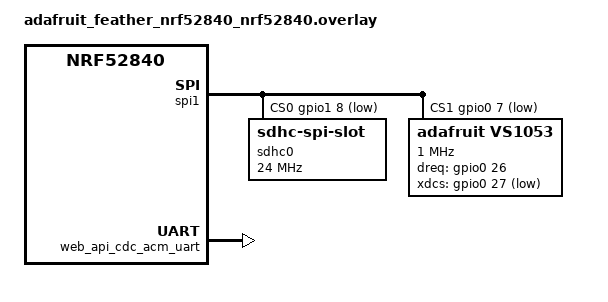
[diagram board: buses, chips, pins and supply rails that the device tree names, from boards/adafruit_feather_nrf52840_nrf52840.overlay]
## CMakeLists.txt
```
cmake_minimum_required(VERSION 3.20.0)
find_package(Zephyr REQUIRED HINTS $ENV{ZEPHYR_BASE})

project(MeshyQ)

target_sources(app PRIVATE
  src/main.c
  src/model_handler.c
  src/chat_cli.c
  src/audio_player.c
  src/vs1053.c
  src/sd_card.c
  src/usb_id.c
  src/bootloader.c
  src/web_api.c
)

target_include_directories(app PRIVATE
  include
)
```

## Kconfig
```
#
# Copyright (c) 2020 Nordic Semiconductor
#
# SPDX-License-Identifier: LicenseRef-Nordic-5-Clause
#

source "Kconfig.zephyr"

menu "MeshyQ wireless audio cue system"

config BT_MESH_CHAT_CLI_MESSAGE_LENGTH
	int "Max length of the message to be sent over mesh"
	default 160
	range 0 255
	help
	  Impacts on memory size occupied by the buffer of a message to be
	  published. This does not include null terminator. The message must also
	  fit into the application SDU. Adjust BT_MESH_TX_SEG_MAX and
	  BT_MESH_RX_SEG_MAX to be able to receive the longest messages.

	  Sized above the minimum a single filename needs so the "list" command's
	  comma-separated reply (one node's playable files) has room; a node with
	  more files than fit just reports as many as it can.

config BT_MESH_CHAT_SAMPLE_PRESENCE_CACHE_SIZE
	int "Presence cache size"
	default 16
	range 0 32767
	help
	  Presence cache stores previously received presence of chat clients.
	  Recommended to be as big as number of chat clients in the mesh network.

config WEB_API_LINE_BUF_SIZE
	int "Max line length for the structured web API protocol"
	default 512
	help
	  Must fit the largest single JSON request/response/event exchanged
	  over the web API's CDC-ACM interface, e.g. a "cue list" reply
	  enumerating every playable file.

endmenu

module = BT_MESH_CHAT_CLI
module-str = BT Mesh Chat Client model
source "$(ZEPHYR_BASE)/subsys/logging/Kconfig.template.log_config"
```

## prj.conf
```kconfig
CONFIG_NCS_SAMPLES_DEFAULTS=y

# Deferred logging helps improve LPN power consumption
# when friendship is established.
CONFIG_LOG_MODE_DEFERRED=y

# General configuration
CONFIG_NCS_APPLICATION_BOOT_BANNER_STRING="MeshyQ"
CONFIG_SYSTEM_WORKQUEUE_STACK_SIZE=2048
CONFIG_FLASH=y
CONFIG_FLASH_MAP=y
CONFIG_NVS=y
CONFIG_SETTINGS=y
CONFIG_NVS_LOOKUP_CACHE=y
CONFIG_SETTINGS_NVS_NAME_CACHE=y
CONFIG_HWINFO=y
CONFIG_GPIO=y
CONFIG_SPI=y

# The board default USB identity ("Zephyr Project" / "CDC ACM serial
# backend") is a compile-time-fixed string, so it can't include a per-chip
# hardware UID. Disable it in favor of src/usb_id.c, which builds an
# equivalent USB device but names it "MeshyQ <hex UID>" so each node in the
# fleet is distinguishable on the host.
CONFIG_CDC_ACM_SERIAL_INITIALIZE_AT_BOOT=n

# Structured JSON control protocol for the web app (src/web_api.c), on its
# own second CDC-ACM interface (web_api_cdc_acm_uart, boards/*.overlay).
CONFIG_JSON_LIBRARY=y

# SD card (Music Maker FeatherWing) storage
CONFIG_DISK_ACCESS=y
CONFIG_FILE_SYSTEM=y
CONFIG_FAT_FILESYSTEM_ELM=y

# The audio player thread reads files from the SD card while other
# threads (shell commands, mesh message handlers) can concurrently stat
# or list files on the same volume. Without this, FatFs volume access
# isn't mutex-protected across threads.
CONFIG_FS_FATFS_REENTRANT=y

# Bluetooth configuration
CONFIG_BT=y
CONFIG_BT_DEVICE_NAME="MeshyQ"
CONFIG_BT_L2CAP_TX_BUF_COUNT=16
CONFIG_BT_OBSERVER=y
CONFIG_BT_PERIPHERAL=y
CONFIG_BT_SETTINGS=y

# Disable unused Bluetooth features
CONFIG_BT_CTLR_LE_ENC=n
CONFIG_BT_PHY_UPDATE=n
CONFIG_BT_CTLR_CHAN_SEL_2=n
CONFIG_BT_CTLR_MIN_USED_CHAN=n
CONFIG_BT_CTLR_PRIVACY=n

# Bluetooth Mesh configuration
CONFIG_BT_MESH=y
# Every node relays. At the ~13-node scale of this deployment that's the
# right call, not a problem to thin out: the common advice to limit relays
# to a small percentage of nodes is aimed at large (100s of nodes) dense
# lighting-style deployments where redundant relaying causes collision
# storms. A fleet this size needs full relay coverage for connectivity.
CONFIG_BT_MESH_RELAY=y
CONFIG_BT_MESH_FRIEND=y

# Reliability tuning for a sparse-traffic, ~13-node fleet: with infrequent
# messages there's no "the next one will probably get through" luck, so
# each send needs its own redundancy.
#   - Relays forward each packet exactly once by default (retransmit count
#     0). That's the single biggest reliability gap for multi-hop delivery:
#     losing one over-the-air transmission at any hop loses the message
#     outright. Retransmitting twice per hop closes that gap.
#   - The originating node repeats its own first transmission one extra
#     time beyond the default, for the same reason on the first hop.
#   - The replay-protection list (CRPL) defaults to 10 entries, which is
#     under the node count; it should exceed the number of nodes with some
#     margin (entries are cheap, ~64 B each).
CONFIG_BT_MESH_RELAY_RETRANSMIT_COUNT=2
CONFIG_BT_MESH_NETWORK_TRANSMIT_COUNT=3
CONFIG_BT_MESH_CRPL=16

# Mesh buffer and segment configuration (fixes "Unable to allocate loopback")
CONFIG_BT_MESH_LOOPBACK_BUFS=8
CONFIG_BT_MESH_RX_SEG_MAX=16
CONFIG_BT_MESH_TX_SEG_MAX=16
CONFIG_BT_MESH_TX_SEG_MSG_COUNT=4

# The default of 1 only lets a node reassemble one incoming segmented
# message at a time. Every message this app sends is segmented (its max
# length is far above the ~11-byte unsegmented limit), and "cue list"
# makes every node in the ~13-node fleet reply with its own segmented
# message, unicast straight back to whichever node asked -- so that node
# needs to reassemble a whole fleet's worth of concurrent segmented
# replies at once, not just one. 16 matches the same fleet-size-plus-
# margin headroom already used above for RX_SEG_MAX/TX_SEG_MAX/CRPL.
# Each slot's exact RAM cost isn't a published constant; if a build ever
# reports insufficient RAM, this is the first value to turn back down.
CONFIG_BT_MESH_RX_SEG_MSG_COUNT=16

# Extra relay/advertising buffer headroom for the retransmit counts above:
# more retransmitted copies are in flight per message now, and this project
# has already hit one real "Unable to allocate" bug (see LOOPBACK_BUFS)
# from underestimating buffer needs.
CONFIG_BT_MESH_RELAY_BUF_COUNT=16
CONFIG_BT_MESH_ADV_BUF_COUNT=10

CONFIG_BT_MESH_PB_GATT=y
CONFIG_BT_MESH_GATT_PROXY=y
CONFIG_BT_MESH_CFG_CLI=y

# Enable Bluetooth Mesh models debug logs
CONFIG_BT_MESH_LOG_LEVEL_DBG=y

# Enable Shell module and use UART as a backend
CONFIG_SHELL=y
CONFIG_SHELL_BACKEND_SERIAL=y
CONFIG_FLASH_SHELL=n

# sys_reboot(), used by the "bootloader" shell command (src/bootloader.c)
CONFIG_REBOOT=y

CONFIG_LOG_BACKEND_RTT=n

# Defensive sizing learned the hard way during hardware bring-up: the
# default main stack (1024B) and heap (0B) are too small once SD/FAT and
# Bluetooth Mesh are both in play, and previously caused a hard-to-diagnose
# crash severe enough to prevent USB enumeration. Audio/SD/VS1053 bring-up
# now runs on its own thread (see audio_player.c) with its own 4096B stack,
# but this still gives bt_ready()'s own Bluetooth/mesh init path headroom.
CONFIG_MAIN_STACK_SIZE=4096
CONFIG_HEAP_MEM_POOL_SIZE=4096

# So a stack overflow shows up as a clear fault message instead of a
# silent crash/reset.
CONFIG_HW_STACK_PROTECTION=y
```

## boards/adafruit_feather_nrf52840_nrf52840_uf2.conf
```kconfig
# Without this, Zephyr ignores the board's devicetree partition layout
# (code_partition @ 0x26000, clear of the Adafruit bootloader/SoftDevice
# region at 0x0-0x26000) and links the app at address 0 instead. Flashing
# that via the UF2 bootloader overwrites the bootloader itself and bricks
# the board (rapid red LED, no USB enumeration).
CONFIG_USE_DT_CODE_PARTITION=y
```

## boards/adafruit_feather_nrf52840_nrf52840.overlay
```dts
/*
 * Adafruit Music Maker FeatherWing w/ Amp (VS1053 + microSD), stacked
 * directly on the Feather header.
 *
 * SCK/MOSI/MISO come from the board's default feather_spi (spi1) pins.
 * The two SPI devices below (VS1053 command interface and the SD
 * card) each get their own entry in spi1's cs-gpios, selected by
 * their `reg` index. VS1053 XDCS (data chip-select) and DREQ are not
 * part of the SPI framework's CS handling and are toggled/read
 * manually by the vs1053 driver. The wing ties VS1053 reset to the
 * Feather's shared reset line, so there's no separate reset GPIO.
 *
 * Pin mapping, per Adafruit's Music Maker FeatherWing wiring for
 * Feather boards (fixed by the wing's own PCB, not board-specific):
 *   SD card CS   -> D5  (P1.08)
 *   VS1053 XCS   -> D6  (P0.07)
 *   VS1053 DREQ  -> D9  (P0.26)
 *   VS1053 XDCS  -> D10 (P0.27)
 */

&spi1 {
	status = "okay";
	cs-gpios = <&gpio1 8 GPIO_ACTIVE_LOW>,
		   <&gpio0 7 GPIO_ACTIVE_LOW>;

	sdhc0: sdhc@0 {
		compatible = "zephyr,sdhc-spi-slot";
		reg = <0>;
		status = "okay";
		spi-max-frequency = <24000000>;

		mmc {
			compatible = "zephyr,sdmmc-disk";
			disk-name = "SD";
			status = "okay";
		};
	};

	vs1053: vs1053@1 {
		compatible = "adafruit,vs1053";
		reg = <1>;
		status = "okay";
		spi-max-frequency = <1000000>;
		dreq-gpios = <&gpio0 26 GPIO_ACTIVE_HIGH>;
		xdcs-gpios = <&gpio0 27 GPIO_ACTIVE_LOW>;
	};
};

/*
 * Second CDC-ACM USB interface, alongside the existing shell/console UART
 * (board_cdc_acm_uart, defined upstream in
 * zephyr/boards/common/usb/cdc_acm_serial.dtsi and wired to zephyr,console/
 * zephyr,shell-uart there). This node is not referenced by any zephyr,*
 * chosen property, so the existing shell/log console is untouched; it is
 * registered as a second USB class instance directly by src/usb_id.c and
 * carries the structured JSON protocol used by the web app (src/web_api.c).
 *
 * `label` becomes this interface's USB interface string descriptor,
 * distinguishing it from the shell interface at the USB descriptor level
 * (useful for OS-level tooling; not guaranteed to surface in a browser's
 * Web Serial port picker).
 */
&zephyr_udc0 {
	web_api_cdc_acm_uart: web_api_cdc_acm_uart {
		compatible = "zephyr,cdc-acm-uart";
		status = "okay";
		label = "MeshyQ Control";
	};
};
```

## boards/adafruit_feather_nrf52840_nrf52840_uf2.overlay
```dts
/*
 * Same wiring as the plain (SWD-flashed) target. Zephyr's app-level board
 * overlay lookup matches the exact board qualifier string only, so the
 * "/uf2" target (used with the Adafruit UF2 bootloader) needs its own
 * file rather than falling back to adafruit_feather_nrf52840_nrf52840.overlay.
 */
#include "adafruit_feather_nrf52840_nrf52840.overlay"
```

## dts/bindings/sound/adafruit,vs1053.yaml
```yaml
description: |
  VS1053 audio decoder chip, as wired on the Adafruit Music Maker
  FeatherWing w/ Amp.

  The chip is controlled over SPI using two chip-select lines: XCS
  selects the command (SCI) interface and is handled by the normal
  SPI chip-select mechanism (this node's `reg`/the bus's `cs-gpios`
  entry at that index). XDCS selects the data (SDI) interface and is
  toggled manually by the driver, since it is asserted independently
  of XCS on the same SPI bus.

  The wing ties VS1053 XRESET to the Feather's shared reset line
  rather than a separately controllable GPIO, so there is no
  reset-gpios property here: the chip comes out of reset when the
  Feather does, and the driver only issues a software reset over SCI.

compatible: "adafruit,vs1053"

include: [spi-device.yaml]

properties:
  dreq-gpios:
    type: phandle-array
    required: true
    description: VS1053 DREQ pin (data request, active high input).

  xdcs-gpios:
    type: phandle-array
    required: true
    description: VS1053 XDCS pin (data chip-select, active low).
```

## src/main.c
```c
/** @file
 *  @brief MeshyQ self-provisioning mesh chat node
 */
#include <zephyr/bluetooth/bluetooth.h>
#include <bluetooth/mesh/models.h>
#include <zephyr/drivers/hwinfo.h>
#include <zephyr/kernel.h>
#include <zephyr/sys/util.h>
#include "chat_cli.h"
#include "audio_player.h"
#include "model_handler.h"
#include "web_api.h"

#include <zephyr/logging/log.h>
LOG_MODULE_REGISTER(chat, CONFIG_LOG_DEFAULT_LEVEL);

/* Pre-shared keys — identical on all nodes. Not for production use. */
static const uint8_t net_key[16] = {
	0x01, 0x23, 0x45, 0x67, 0x89, 0xab, 0xcd, 0xef,
	0x01, 0x23, 0x45, 0x67, 0x89, 0xab, 0xcd, 0xef,
};
static const uint8_t dev_key[16] = {
	0x01, 0x23, 0x45, 0x67, 0x89, 0xab, 0xcd, 0xef,
	0x01, 0x23, 0x45, 0x67, 0x89, 0xab, 0xcd, 0xef,
};
static const uint8_t app_key[16] = {
	0x01, 0x23, 0x45, 0x67, 0x89, 0xab, 0xcd, 0xef,
	0x01, 0x23, 0x45, 0x67, 0x89, 0xab, 0xcd, 0xef,
};

/* Group address for broadcast chat messages */
#define CHAT_GROUP_ADDR 0xC000

static uint8_t dev_uuid[16];
static uint16_t node_addr;

static const struct bt_mesh_prov prov = {
	.uuid = dev_uuid,
};

/* Each node needs a distinct unicast address: two self-provisioned nodes
 * sharing one address silently break the mesh (replay protection is keyed
 * by (address, sequence number), so their traffic starts colliding). Fold
 * the chip's factory-unique hardware ID down to a 15-bit Bluetooth Mesh
 * unicast address instead of relying on a hand-picked, per-board build
 * setting.
 */
static uint16_t derive_node_addr(const uint8_t *id, size_t len)
{
	uint16_t addr = 0;

	for (size_t i = 0; i < len; i++) {
		addr = (uint16_t)((addr * 31) + id[i]);
	}

	/* Bluetooth Mesh unicast addresses are 15-bit and must not be 0. */
	addr &= 0x7FFF;
	if (addr == 0) {
		addr = 1;
	}

	return addr;
}

static void configure(void)
{
	int err;

	printk("Configuring models...\n");

	err = bt_mesh_cfg_cli_app_key_add(0, node_addr, 0, 0, app_key, NULL);
	printk("  App key add: %d\n", err);
	k_sleep(K_MSEC(500));

	err = bt_mesh_cfg_cli_mod_app_bind(0, node_addr, node_addr, 0,
					   BT_MESH_MODEL_ID_HEALTH_SRV, NULL);
	printk("  Health bind: %d\n", err);
	k_sleep(K_MSEC(500));

	err = bt_mesh_cfg_cli_mod_app_bind_vnd(0, node_addr, node_addr, 0,
					       BT_MESH_CHAT_CLI_VENDOR_MODEL_ID,
					       BT_MESH_CHAT_CLI_VENDOR_COMPANY_ID,
					       NULL);
	printk("  Chat bind: %d\n", err);
	k_sleep(K_MSEC(500));

	err = bt_mesh_cfg_cli_mod_sub_add_vnd(0, node_addr, node_addr,
					      CHAT_GROUP_ADDR,
					      BT_MESH_CHAT_CLI_VENDOR_MODEL_ID,
					      BT_MESH_CHAT_CLI_VENDOR_COMPANY_ID,
					      NULL);
	printk("  Chat subscription: %d\n", err);
	k_sleep(K_MSEC(500));

	/* Publication must be set directly; CFG CLI pub_set is fire-and-forget
	 * and the loopback STATUS response is not guaranteed before first send. */
	model_handler_set_pub(CHAT_GROUP_ADDR, 0, BT_MESH_TTL_DEFAULT);

	printk("Self-configuration complete\n");
}

static void bt_ready(int err)
{
	if (err) {
		printk("Bluetooth init failed (err %d)\n", err);
		return;
	}

	printk("Bluetooth initialized\n");

	err = audio_player_init();
	if (err) {
		printk("Initializing audio playback failed (err %d)\n", err);
	}

	err = web_api_init();
	if (err) {
		printk("Initializing web API failed (err %d)\n", err);
	}

	err = bt_mesh_init(&prov, model_handler_init());
	if (err) {
		printk("Initializing mesh failed (err %d)\n", err);
		return;
	}

	if (IS_ENABLED(CONFIG_SETTINGS)) {
		settings_load();
	}

	if (bt_mesh_is_provisioned() && model_handler_addr() != node_addr) {
		/* Stale provisioning from a different addressing scheme (e.g.
		 * an old fixed NODE_ADDR, or a previous test image) - reset
		 * once so this device re-provisions at its current
		 * node_addr. Only do this on an actual mismatch: resetting
		 * every boot would restart this node's sequence number at 0
		 * each time, which other nodes' replay protection would
		 * eventually start treating as a replay of already-seen
		 * traffic and silently drop.
		 */
		printk("Stale provisioning at 0x%04x, resetting to rejoin as 0x%04x\n",
		       model_handler_addr(), node_addr);
		bt_mesh_reset();
	}

	err = bt_mesh_provision(net_key, 0, 0, 0, node_addr, dev_key);
	if (err == -EALREADY) {
		printk("Using stored provisioning data (0x%04x)\n", node_addr);
	} else if (err) {
		printk("Provisioning failed (err %d)\n", err);
		return;
	} else {
		printk("Provisioned as node 0x%04x\n", node_addr);
	}

	k_sleep(K_MSEC(1000));
	configure();

	printk("Mesh initialized\n");
}

int main(void)
{
	int err;

	printk("Initializing...\n");

	ssize_t id_len = hwinfo_get_device_id(dev_uuid, sizeof(dev_uuid));

	if (id_len < 0) {
		printk("hwinfo_get_device_id failed (err %d)\n", (int)id_len);
		id_len = 0;
	}
	node_addr = derive_node_addr(dev_uuid, (size_t)id_len);
	printk("Derived mesh node address: 0x%04x\n", node_addr);

	err = bt_enable(bt_ready);
	if (err) {
		printk("Bluetooth init failed (err %d)\n", err);
	}

	return 0;
}
```

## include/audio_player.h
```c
#ifndef AUDIO_PLAYER_H_
#define AUDIO_PLAYER_H_

#include <stdint.h>

/** @brief Mount the SD card and bring up the VS1053 codec. */
int audio_player_init(void);

/** @brief Get the current output volume, 0-100. */
uint8_t audio_player_get_volume(void);

/**
 * @brief Set the output volume.
 *
 * @retval 0        Volume set.
 * @retval -EINVAL  percent is not in 0-100.
 * @retval -ENODEV  Audio player has not been initialized.
 */
int audio_player_set_volume(uint8_t percent);

/**
 * @brief Play a file from the SD card's root directory, if it exists.
 *
 * @retval 0        Playback started.
 * @retval -ENOENT  No such file in the SD card's root directory.
 * @retval -EALREADY A file is already playing.
 * @retval -ENODEV  Audio player has not been initialized.
 */
int audio_player_play_file(const char *filename);

#endif
```

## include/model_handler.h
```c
/*
 * Copyright (c) 2020 Nordic Semiconductor ASA
 *
 * SPDX-License-Identifier: LicenseRef-Nordic-5-Clause
 */

/**
 * @file
 * @brief Model handler
 */

#ifndef MODEL_HANDLER_H__
#define MODEL_HANDLER_H__

#include <zephyr/bluetooth/mesh.h>

#include "chat_cli.h"

#ifdef __cplusplus
extern "C" {
#endif

const struct bt_mesh_comp *model_handler_init(void);
void model_handler_set_pub(uint16_t addr, uint16_t app_key_idx, uint8_t ttl);

/** @brief Get the chat model's element address, or 0 if not yet
 * provisioned. Valid after model_handler_init() + bt_mesh_init() +
 * settings_load().
 */
uint16_t model_handler_addr(void);

/** @brief Get this node's provisioning state, address, and current presence. */
void model_handler_status(bool *provisioned, uint16_t *addr,
			  enum bt_mesh_chat_cli_presence *presence);

/** @brief Look up a presence enum value's canonical string, e.g. "available". */
const char *model_handler_presence_to_string(enum bt_mesh_chat_cli_presence presence);

/**
 * @brief Parse a presence string, e.g. "available", into its enum value.
 *
 * @retval true  @p str matched a known presence value; *presence is set.
 * @retval false @p str did not match any known presence value.
 */
bool model_handler_presence_from_string(const char *str,
					enum bt_mesh_chat_cli_presence *presence);

/** @brief Broadcast a chat text message. See bt_mesh_chat_cli_message_send(). */
int model_handler_chat_send(const char *msg);

/** @brief Send a private chat text message. See bt_mesh_chat_cli_private_message_send(). */
int model_handler_chat_send_private(uint16_t addr, const char *msg);

/** @brief Set and publish this node's presence. See bt_mesh_chat_cli_presence_set(). */
int model_handler_presence_set(enum bt_mesh_chat_cli_presence presence);

/** @brief Request another node's presence. See bt_mesh_chat_cli_presence_get(). */
int model_handler_presence_get(uint16_t addr);

/** @brief Broadcast "play <filename>" to the mesh (see the cue/chat msg grammar). */
int model_handler_cue_play(const char *filename);

/** @brief Broadcast "find <filename>" to the mesh. */
int model_handler_cue_find(const char *filename);

/** @brief Broadcast "list" to the mesh. */
int model_handler_cue_list(void);

#ifdef __cplusplus
}
#endif

#endif /* MODEL_HANDLER_H__ */
```

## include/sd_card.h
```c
#ifndef SD_CARD_H_
#define SD_CARD_H_

#include <stdbool.h>
#include <stddef.h>
#include <stdint.h>

/** @brief Mount the FAT filesystem on the SD card. */
int sd_card_init(void);

/**
 * @brief Resolve a bare filename to a path in the SD card's root directory,
 * and check that it exists there as a regular file.
 *
 * Only the root directory is searched: @p filename must not contain a path
 * separator, so mesh messages can't be used to reach into subdirectories.
 *
 * @param filename    Bare filename, e.g. "example.wav".
 * @param path_out    Buffer to receive the resolved path.
 * @param path_out_size Size of @p path_out.
 *
 * @retval true  The file exists in the SD card's root directory.
 * @retval false The name is invalid, or no such file exists.
 */
bool sd_card_resolve_root_file(const char *filename, char *path_out, size_t path_out_size);

/**
 * @brief Build a comma-separated list of playable (.wav/.mp3) files in the
 * SD card's root directory.
 *
 * If the buffer is too small to hold every playable file, the list is cut
 * off at the last file that fit rather than a partial filename.
 *
 * @param[out] out      Buffer to receive the comma-separated, null-terminated
 * list. Left as an empty string if there are no playable files.
 * @param[in]  out_size Size of @p out. Must be at least 1.
 *
 * @retval >=0 Number of files included in the list.
 * @retval -EINVAL @p out_size is 0.
 * @retval other Negative errno from opening the root directory.
 */
int sd_card_list_playable_files(char *out, size_t out_size);

/** @brief Called once per entry by sd_card_list_root(). */
typedef void (*sd_card_list_root_cb_t)(const char *name, bool is_dir, uint32_t size,
					void *user_data);

/**
 * @brief Walk the SD card's root directory, calling @p cb for each entry.
 *
 * @param cb        Called once per directory entry.
 * @param user_data Passed through to @p cb unchanged.
 *
 * @retval 0      Directory listed successfully.
 * @retval other  Negative errno from opening/reading the root directory.
 */
int sd_card_list_root(sd_card_list_root_cb_t cb, void *user_data);

#endif /* SD_CARD_H_ */
```

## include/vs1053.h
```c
#ifndef VS1053_H_
#define VS1053_H_

#include <stddef.h>
#include <stdint.h>

/** @brief Initialize the VS1053 codec: verify DREQ, soft-reset, set clock and volume. */
int vs1053_init(void);

/**
 * @brief Stream a block of file data to the VS1053 decoder over SDI.
 *
 * Blocks until the whole buffer has been sent, waiting on DREQ as needed.
 * The VS1053's onboard firmware auto-detects the audio format (WAV, MP3,
 * OGG, ...) from the stream itself, so @p data should be the raw file
 * bytes with no pre-processing.
 */
int vs1053_play_data(const uint8_t *data, size_t len);

/** @brief Flush the decoder's internal buffer and cancel any decode in progress. */
void vs1053_stop(void);

/** @brief Set output volume. 0x00 is loudest, 0xFE is closest to silent per channel. */
void vs1053_set_volume(uint8_t left_attenuation, uint8_t right_attenuation);

#endif /* VS1053_H_ */
```

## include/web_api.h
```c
#ifndef WEB_API_H_
#define WEB_API_H_

#include <stdint.h>

#include <zephyr/usb/usbd.h>

#include "chat_cli.h"

#ifdef __cplusplus
extern "C" {
#endif

/**
 * @brief Start the structured JSON web API on its own USB CDC-ACM interface
 * (web_api_cdc_acm_uart, see boards, *.overlay), independent of the interactive
 * shell/console on the first CDC-ACM interface.
 */
int web_api_init(void);

/**
 * @brief USB device message hook, called by usb_id.c for every USB device
 * event. Used to detect DTR assertion on web_api_cdc_acm_uart specifically,
 * so the web API only starts processing once a client has actually opened
 * the port. Ignores messages for any other device.
 */
void web_api_usbd_msg_handler(struct usbd_context *ctx, const struct usbd_msg *msg);

/**
 * @brief Notify the web API client of an incoming non-private chat/cue
 * message, mirroring what handle_chat_message() already prints to the
 * shell. No-op if the web API isn't connected.
 */
void web_api_notify_chat_message(uint16_t addr, const char *text);

/** @brief Like web_api_notify_chat_message(), for private messages. */
void web_api_notify_chat_private_message(uint16_t addr, const char *text);

/** @brief Like web_api_notify_chat_message(), for replies (e.g. "found <file>"). */
void web_api_notify_chat_message_reply(uint16_t addr, const char *text);

/** @brief Notify the web API client of a presence change/report. */
void web_api_notify_presence(uint16_t addr, enum bt_mesh_chat_cli_presence presence);

#ifdef __cplusplus
}
#endif

#endif /* WEB_API_H_ */
```

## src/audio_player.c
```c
#include "audio_player.h"

#include <errno.h>
#include <stdbool.h>
#include <stdlib.h>
#include <string.h>

#include <zephyr/fs/fs.h>
#include <zephyr/kernel.h>
#include <zephyr/logging/log.h>
#include <zephyr/shell/shell.h>

#include "sd_card.h"
#include "vs1053.h"

LOG_MODULE_REGISTER(audio_player, CONFIG_LOG_DEFAULT_LEVEL);

#define AUDIO_PLAYER_PATH_MAX 128
#define AUDIO_PLAYER_READ_CHUNK 512

/* Matches vs1053.c's own startup default (VS1053_DEFAULT_VOL_ATTEN =
 * 0x20), just expressed on the 0-100 scale used by the shell command
 * below, so the reported "current" volume is right from boot even
 * before the volume command is ever used.
 */
#define VOLUME_DEFAULT_PERCENT 87
/* Generous stack: this thread also does the SD card mount and FAT
 * filesystem bring-up, which use more stack than typical playback code
 * (FatFs keeps per-call work buffers on the stack). Sizing this thread's
 * stack independently of the main thread keeps a slow or failing SD card
 * from ever touching main()'s stack or blocking bt_ready()/the shell.
 */
#define AUDIO_THREAD_STACK_SIZE 4096
#define AUDIO_THREAD_PRIO 7

K_THREAD_STACK_DEFINE(audio_thread_stack, AUDIO_THREAD_STACK_SIZE);

static struct {
	struct k_sem play_request;
	struct k_mutex lock;
	struct k_thread thread;
	k_tid_t thread_id;
	bool ready;
	bool busy;
	char pending_path[AUDIO_PLAYER_PATH_MAX];
} player;

static uint8_t volume_percent = VOLUME_DEFAULT_PERCENT;

/* VS1053's SCI_VOL register is an attenuation in 0.5 dB steps: 0x00 is
 * loudest, 0xFE is the quietest non-powerdown value (0xFF cuts the
 * channel's analog output entirely, so it's deliberately never reached
 * here). Map the shell's 0-100 "volume" onto that range.
 */
static uint8_t percent_to_attenuation(uint8_t percent)
{
	return (uint8_t)((100 - percent) * 254 / 100);
}

static void play_file(const char *path)
{
	static uint8_t chunk[AUDIO_PLAYER_READ_CHUNK];
	struct fs_file_t file;
	int err;

	fs_file_t_init(&file);

	err = fs_open(&file, path, FS_O_READ);
	if (err) {
		LOG_WRN("Failed to open %s: %d", path, err);
		return;
	}

	while (1) {
		ssize_t read = fs_read(&file, chunk, sizeof(chunk));

		if (read < 0) {
			LOG_WRN("Read error on %s: %d", path, (int)read);
			break;
		}

		if (read == 0) {
			break;
		}

		err = vs1053_play_data(chunk, (size_t)read);
		if (err) {
			LOG_WRN("Playback error on %s: %d", path, err);
			break;
		}
	}

	vs1053_stop();
	fs_close(&file);
}

static void audio_thread(void *arg1, void *arg2, void *arg3)
{
	ARG_UNUSED(arg1);
	ARG_UNUSED(arg2);
	ARG_UNUSED(arg3);

	/* SD mount and VS1053 bring-up happen here, on this thread's own
	 * stack, instead of inline in audio_player_init(). That keeps a
	 * slow or misbehaving SD card / codec from blocking bt_ready() (and
	 * therefore Bluetooth/mesh bring-up) or starving the shell thread.
	 */
	if (sd_card_init() || vs1053_init()) {
		LOG_ERR("Audio hardware bring-up failed; playback disabled");
		return;
	}

	/* Make sure the tracked volume_percent and the chip's actual
	 * register agree from boot, rather than relying on two separately
	 * maintained defaults staying in sync.
	 */
	vs1053_set_volume(percent_to_attenuation(volume_percent),
			   percent_to_attenuation(volume_percent));

	k_mutex_lock(&player.lock, K_FOREVER);
	player.ready = true;
	k_mutex_unlock(&player.lock);

	while (1) {
		char path[AUDIO_PLAYER_PATH_MAX];

		k_sem_take(&player.play_request, K_FOREVER);

		k_mutex_lock(&player.lock, K_FOREVER);
		strcpy(path, player.pending_path);
		k_mutex_unlock(&player.lock);

		play_file(path);

		k_mutex_lock(&player.lock, K_FOREVER);
		player.busy = false;
		k_mutex_unlock(&player.lock);
	}
}

int audio_player_init(void)
{
	k_sem_init(&player.play_request, 0, 1);
	k_mutex_init(&player.lock);

	player.thread_id = k_thread_create(&player.thread, audio_thread_stack,
					   K_THREAD_STACK_SIZEOF(audio_thread_stack),
					   audio_thread, NULL, NULL, NULL,
					   K_PRIO_PREEMPT(AUDIO_THREAD_PRIO), 0,
					   K_NO_WAIT);
	(void)k_thread_name_set(player.thread_id, "audio_player");

	return 0;
}

int audio_player_play_file(const char *filename)
{
	char path[AUDIO_PLAYER_PATH_MAX];

	k_mutex_lock(&player.lock, K_FOREVER);
	if (!player.ready) {
		k_mutex_unlock(&player.lock);
		return -ENODEV;
	}
	k_mutex_unlock(&player.lock);

	if (!sd_card_resolve_root_file(filename, path, sizeof(path))) {
		return -ENOENT;
	}

	k_mutex_lock(&player.lock, K_FOREVER);
	if (player.busy) {
		k_mutex_unlock(&player.lock);
		return -EALREADY;
	}

	player.busy = true;
	strcpy(player.pending_path, path);
	k_mutex_unlock(&player.lock);

	k_sem_give(&player.play_request);
	return 0;
}

/* Local-only trigger: plays straight from the shell, independent of mesh
 * state, so a single DUT with nothing else on the network can still be
 * tested.
 */
static int cmd_play(const struct shell *shell, size_t argc, char *argv[])
{
	int err;

	err = audio_player_play_file(argv[1]);
	switch (err) {
	case 0:
		shell_print(shell, "Playing %s", argv[1]);
		break;
	case -ENOENT:
		shell_error(shell, "No such file in the SD card's root directory: %s", argv[1]);
		break;
	case -EALREADY:
		shell_error(shell, "Already playing a file");
		break;
	case -ENODEV:
		shell_error(shell, "Audio player not initialized");
		break;
	default:
		shell_error(shell, "Failed to play %s: %d", argv[1], err);
		break;
	}

	return 0;
}

SHELL_CMD_ARG_REGISTER(play, NULL,
			"Play a file from the SD card's root directory <filename>", cmd_play, 2,
			0);

uint8_t audio_player_get_volume(void)
{
	return volume_percent;
}

int audio_player_set_volume(uint8_t percent)
{
	bool ready;

	if (percent > 100) {
		return -EINVAL;
	}

	k_mutex_lock(&player.lock, K_FOREVER);
	ready = player.ready;
	k_mutex_unlock(&player.lock);

	if (!ready) {
		return -ENODEV;
	}

	volume_percent = percent;
	vs1053_set_volume(percent_to_attenuation(volume_percent),
			   percent_to_attenuation(volume_percent));

	return 0;
}

/* Volume is a VS1053 hardware register, not a per-file setting: it stays
 * wherever it's set across every subsequent play (and every mesh-triggered
 * playback), so it's its own command rather than a `play` argument.
 */
static int cmd_volume(const struct shell *shell, size_t argc, char *argv[])
{
	long percent;
	char *endptr;
	int err;

	if (argc == 1) {
		shell_print(shell, "Volume: %u%%", audio_player_get_volume());
		return 0;
	}

	percent = strtol(argv[1], &endptr, 10);
	if (*endptr != '\0' || percent < 0 || percent > 100) {
		shell_error(shell, "Volume must be 0-100");
		return -EINVAL;
	}

	err = audio_player_set_volume((uint8_t)percent);
	switch (err) {
	case 0:
		shell_print(shell, "Volume set to %u%%", audio_player_get_volume());
		break;
	case -ENODEV:
		shell_error(shell, "Audio player not initialized");
		break;
	default:
		shell_error(shell, "Failed to set volume: %d", err);
		break;
	}

	return 0;
}

SHELL_CMD_ARG_REGISTER(volume, NULL, "Get or set output volume, persists across play [0-100]",
			cmd_volume, 1, 1);
```

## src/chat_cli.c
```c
/*
 * Copyright (c) 2019 Nordic Semiconductor ASA
 *
 * SPDX-License-Identifier: LicenseRef-Nordic-5-Clause
 */

#include <zephyr/bluetooth/mesh.h>
#include "chat_cli.h"
#include "mesh/net.h"
#include <string.h>

#include <zephyr/logging/log.h>
LOG_MODULE_DECLARE(chat);

BUILD_ASSERT(BT_MESH_MODEL_BUF_LEN(BT_MESH_CHAT_CLI_OP_MESSAGE,
				   BT_MESH_CHAT_CLI_MSG_MAXLEN_MESSAGE) <=
		    BT_MESH_RX_SDU_MAX,
	     "The message must fit inside an application SDU.");
BUILD_ASSERT(BT_MESH_MODEL_BUF_LEN(BT_MESH_CHAT_CLI_OP_MESSAGE,
				   BT_MESH_CHAT_CLI_MSG_MAXLEN_MESSAGE) <=
		    BT_MESH_TX_SDU_MAX,
	     "The message must fit inside an application SDU.");
BUILD_ASSERT(BT_MESH_MODEL_BUF_LEN(BT_MESH_CHAT_CLI_OP_MESSAGE_REPLY,
				   BT_MESH_CHAT_CLI_MSG_MAXLEN_MESSAGE_REPLY) <=
			    BT_MESH_RX_SDU_MAX,
	     "The reply must fit inside an application SDU.");
BUILD_ASSERT(BT_MESH_MODEL_BUF_LEN(BT_MESH_CHAT_CLI_OP_MESSAGE_REPLY,
				   BT_MESH_CHAT_CLI_MSG_MAXLEN_MESSAGE_REPLY) <=
			    BT_MESH_TX_SDU_MAX,
	     "The reply must fit inside an application SDU.");

static void encode_presence(struct net_buf_simple *buf,
			    enum bt_mesh_chat_cli_presence presence)
{
	bt_mesh_model_msg_init(buf, BT_MESH_CHAT_CLI_OP_PRESENCE);
	net_buf_simple_add_u8(buf, presence);
}

static const uint8_t *extract_msg(struct net_buf_simple *buf)
{
	buf->data[buf->len - 1] = '\0';
	return net_buf_simple_pull_mem(buf, buf->len);
}

static int handle_message(const struct bt_mesh_model *model, struct bt_mesh_msg_ctx *ctx,
			  struct net_buf_simple *buf)
{
	struct bt_mesh_chat_cli *chat = model->rt->user_data;
	const uint8_t *msg;

	msg = extract_msg(buf);

	if (chat->handlers->message) {
		chat->handlers->message(chat, ctx, msg);
	}

	return 0;
}

/* .. include_startingpoint_chat_cli_rst_1 */
static int handle_private_message(const struct bt_mesh_model *model, struct bt_mesh_msg_ctx *ctx,
				  struct net_buf_simple *buf)
{
	struct bt_mesh_chat_cli *chat = model->rt->user_data;
	const uint8_t *msg;

	msg = extract_msg(buf);

	if (chat->handlers->private_message) {
		chat->handlers->private_message(chat, ctx, msg);
	}

	(void)bt_mesh_chat_cli_reply_send(chat, ctx, (const uint8_t *)"received");
	return 0;
}
/* .. include_endpoint_chat_cli_rst_1 */

static int handle_message_reply(const struct bt_mesh_model *model, struct bt_mesh_msg_ctx *ctx,
				struct net_buf_simple *buf)
{
	struct bt_mesh_chat_cli *chat = model->rt->user_data;
	const uint8_t *msg;

	msg = extract_msg(buf);

	if (chat->handlers->message_reply) {
		chat->handlers->message_reply(chat, ctx, msg);
	}

	return 0;
}

static int handle_presence(const struct bt_mesh_model *model, struct bt_mesh_msg_ctx *ctx,
			   struct net_buf_simple *buf)
{
	struct bt_mesh_chat_cli *chat = model->rt->user_data;
	enum bt_mesh_chat_cli_presence presence;

	presence = net_buf_simple_pull_u8(buf);

	if (chat->handlers->presence) {
		chat->handlers->presence(chat, ctx, presence);
	}

	return 0;
}

static int handle_presence_get(const struct bt_mesh_model *model, struct bt_mesh_msg_ctx *ctx,
			       struct net_buf_simple *buf)
{
	struct bt_mesh_chat_cli *chat = model->rt->user_data;

	BT_MESH_MODEL_BUF_DEFINE(msg, BT_MESH_CHAT_CLI_OP_PRESENCE,
				 BT_MESH_CHAT_CLI_MSG_LEN_PRESENCE);

	encode_presence(&msg, chat->presence);

	(void)bt_mesh_model_send(chat->model, ctx, &msg, NULL, NULL);

	return 0;
}

/* .. include_startingpoint_chat_cli_rst_2 */
const struct bt_mesh_model_op _bt_mesh_chat_cli_op[] = {
	{
		BT_MESH_CHAT_CLI_OP_MESSAGE,
		BT_MESH_LEN_MIN(BT_MESH_CHAT_CLI_MSG_MINLEN_MESSAGE),
		handle_message
	},
	{
		BT_MESH_CHAT_CLI_OP_PRIVATE_MESSAGE,
		BT_MESH_LEN_MIN(BT_MESH_CHAT_CLI_MSG_MINLEN_MESSAGE),
		handle_private_message
	},
	{
		BT_MESH_CHAT_CLI_OP_MESSAGE_REPLY,
		BT_MESH_LEN_MIN(BT_MESH_CHAT_CLI_MSG_MINLEN_MESSAGE_REPLY),
		handle_message_reply
	},
	{
		BT_MESH_CHAT_CLI_OP_PRESENCE,
		BT_MESH_LEN_EXACT(BT_MESH_CHAT_CLI_MSG_LEN_PRESENCE),
		handle_presence
	},
	{
		BT_MESH_CHAT_CLI_OP_PRESENCE_GET,
		BT_MESH_LEN_EXACT(BT_MESH_CHAT_CLI_MSG_LEN_PRESENCE_GET),
		handle_presence_get
	},
	BT_MESH_MODEL_OP_END,
};
/* .. include_endpoint_chat_cli_rst_2 */

static int bt_mesh_chat_cli_update_handler(const struct bt_mesh_model *model)
{
	struct bt_mesh_chat_cli *chat = model->rt->user_data;

	/* Continue publishing current presence. */
	encode_presence(model->pub->msg, chat->presence);

	return 0;
}

/* .. include_startingpoint_chat_cli_rst_3 */
#ifdef CONFIG_BT_SETTINGS
static int bt_mesh_chat_cli_settings_set(const struct bt_mesh_model *model,
					 const char *name,
					 size_t len_rd,
					 settings_read_cb read_cb,
					 void *cb_arg)
{
	struct bt_mesh_chat_cli *chat = model->rt->user_data;

	if (name) {
		return -ENOENT;
	}

	ssize_t bytes = read_cb(cb_arg, &chat->presence,
				sizeof(chat->presence));
	if (bytes < 0) {
		return bytes;
	}

	if (bytes != 0 && bytes != sizeof(chat->presence)) {
		return -EINVAL;
	}

	return 0;
}
#endif
/* .. include_endpoint_chat_cli_rst_3 */

/* .. include_startingpoint_chat_cli_rst_4 */
static int bt_mesh_chat_cli_init(const struct bt_mesh_model *model)
{
	struct bt_mesh_chat_cli *chat = model->rt->user_data;

	chat->model = model;

	net_buf_simple_init_with_data(&chat->pub_msg, chat->buf,
				      sizeof(chat->buf));
	chat->pub.msg = &chat->pub_msg;
	chat->pub.update = bt_mesh_chat_cli_update_handler;

	return 0;
}
/* .. include_endpoint_chat_cli_rst_4 */

/* .. include_startingpoint_chat_cli_rst_5 */
static int bt_mesh_chat_cli_start(const struct bt_mesh_model *model)
{
	struct bt_mesh_chat_cli *chat = model->rt->user_data;

	if (chat->handlers->start) {
		chat->handlers->start(chat);
	}

	return 0;
}
/* .. include_endpoint_chat_cli_rst_5 */

/* .. include_startingpoint_chat_cli_rst_6 */
static void bt_mesh_chat_cli_reset(const struct bt_mesh_model *model)
{
	struct bt_mesh_chat_cli *chat = model->rt->user_data;

	chat->presence = BT_MESH_CHAT_CLI_PRESENCE_AVAILABLE;

	if (IS_ENABLED(CONFIG_BT_SETTINGS)) {
		(void) bt_mesh_model_data_store(model, true, NULL, NULL, 0);
	}
}
/* .. include_endpoint_chat_cli_rst_6 */

/* .. include_startingpoint_chat_cli_rst_7 */
const struct bt_mesh_model_cb _bt_mesh_chat_cli_cb = {
	.init = bt_mesh_chat_cli_init,
	.start = bt_mesh_chat_cli_start,
#ifdef CONFIG_BT_SETTINGS
	.settings_set = bt_mesh_chat_cli_settings_set,
#endif
	.reset = bt_mesh_chat_cli_reset,
};
/* .. include_endpoint_chat_cli_rst_7 */

/* .. include_startingpoint_chat_cli_rst_8 */
int bt_mesh_chat_cli_presence_set(struct bt_mesh_chat_cli *chat,
			 enum bt_mesh_chat_cli_presence presence)
{
	if (presence != chat->presence) {
		chat->presence = presence;

		if (IS_ENABLED(CONFIG_BT_SETTINGS)) {
			(void) bt_mesh_model_data_store(chat->model, true,
						NULL, &presence,
						sizeof(chat->presence));
		}
	}

	encode_presence(chat->model->pub->msg, chat->presence);

	return bt_mesh_model_publish(chat->model);
}
/* .. include_endpoint_chat_cli_rst_8 */

int bt_mesh_chat_cli_reply_send(struct bt_mesh_chat_cli *chat,
				struct bt_mesh_msg_ctx *ctx,
				const uint8_t *text)
{
	BT_MESH_MODEL_BUF_DEFINE(msg, BT_MESH_CHAT_CLI_OP_MESSAGE_REPLY,
				 BT_MESH_CHAT_CLI_MSG_MAXLEN_MESSAGE_REPLY);
	bt_mesh_model_msg_init(&msg, BT_MESH_CHAT_CLI_OP_MESSAGE_REPLY);

	net_buf_simple_add_mem(&msg, text,
			       strnlen(text, CONFIG_BT_MESH_CHAT_CLI_MESSAGE_LENGTH));
	net_buf_simple_add_u8(&msg, '\0');

	return bt_mesh_model_send(chat->model, ctx, &msg, NULL, NULL);
}

int bt_mesh_chat_cli_presence_get(struct bt_mesh_chat_cli *chat,
				  uint16_t addr)
{
	struct bt_mesh_msg_ctx ctx = {
		.addr = addr,
		.app_idx = chat->model->keys[0],
		.send_ttl = BT_MESH_TTL_DEFAULT,
		.send_rel = true,
	};

	BT_MESH_MODEL_BUF_DEFINE(buf, BT_MESH_CHAT_CLI_OP_PRESENCE_GET,
				 BT_MESH_CHAT_CLI_MSG_LEN_PRESENCE_GET);
	bt_mesh_model_msg_init(&buf, BT_MESH_CHAT_CLI_OP_PRESENCE_GET);

	return bt_mesh_model_send(chat->model, &ctx, &buf, NULL, NULL);
}

int bt_mesh_chat_cli_message_send(struct bt_mesh_chat_cli *chat,
				  const uint8_t *msg)
{
	struct net_buf_simple *buf = chat->model->pub->msg;

	bt_mesh_model_msg_init(buf, BT_MESH_CHAT_CLI_OP_MESSAGE);

	net_buf_simple_add_mem(buf, msg,
			       strnlen(msg,
				       CONFIG_BT_MESH_CHAT_CLI_MESSAGE_LENGTH));
	net_buf_simple_add_u8(buf, '\0');

	return bt_mesh_model_publish(chat->model);
}

/* .. include_startingpoint_chat_cli_rst_9 */
int bt_mesh_chat_cli_private_message_send(struct bt_mesh_chat_cli *chat,
					  uint16_t addr,
					  const uint8_t *msg)
{
	struct bt_mesh_msg_ctx ctx = {
		.addr = addr,
		.app_idx = chat->model->keys[0],
		.send_ttl = BT_MESH_TTL_DEFAULT,
		.send_rel = true,
	};

	BT_MESH_MODEL_BUF_DEFINE(buf, BT_MESH_CHAT_CLI_OP_PRIVATE_MESSAGE,
				 BT_MESH_CHAT_CLI_MSG_MAXLEN_MESSAGE);
	bt_mesh_model_msg_init(&buf, BT_MESH_CHAT_CLI_OP_PRIVATE_MESSAGE);

	net_buf_simple_add_mem(&buf, msg,
			       strnlen(msg,
				       CONFIG_BT_MESH_CHAT_CLI_MESSAGE_LENGTH));
	net_buf_simple_add_u8(&buf, '\0');

	return bt_mesh_model_send(chat->model, &ctx, &buf, NULL, NULL);
}
/* .. include_endpoint_chat_cli_rst_9 */
```

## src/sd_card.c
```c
#include "sd_card.h"

#include <errno.h>
#include <string.h>
#include <strings.h>
#include <stdio.h>

#include <ff.h>
#include <zephyr/fs/fs.h>
#include <zephyr/logging/log.h>
#include <zephyr/shell/shell.h>

LOG_MODULE_REGISTER(sd_card, CONFIG_LOG_DEFAULT_LEVEL);

#define SD_CARD_MOUNT_POINT "/SD:"

/* Matches the README's claim that the VS1053 decodes WAV and MP3
 * identically; anything else is skipped in a playable-file listing.
 */
static bool has_playable_extension(const char *filename)
{
	size_t len = strlen(filename);
	const char *ext = len >= 4 ? filename + len - 4 : filename;

	return len >= 4 && (strcasecmp(ext, ".wav") == 0 || strcasecmp(ext, ".mp3") == 0);
}

static FATFS fat_fs;
static struct fs_mount_t mp = {
	.type = FS_FATFS,
	.fs_data = &fat_fs,
	.mnt_point = SD_CARD_MOUNT_POINT,
};

int sd_card_init(void)
{
	int err;

	err = fs_mount(&mp);
	if (err) {
		LOG_ERR("Failed to mount SD card: %d", err);
		return err;
	}

	LOG_INF("SD card mounted at %s", SD_CARD_MOUNT_POINT);
	return 0;
}

bool sd_card_resolve_root_file(const char *filename, char *path_out, size_t path_out_size)
{
	struct fs_dirent entry;
	size_t needed;

	if (!filename || filename[0] == '\0') {
		return false;
	}

	/* Root directory only: reject anything that could reference a
	 * subdirectory or walk out of it.
	 */
	if (strchr(filename, '/') || strchr(filename, '\\') ||
	    strcmp(filename, ".") == 0 || strcmp(filename, "..") == 0) {
		return false;
	}

	needed = strlen(SD_CARD_MOUNT_POINT) + 1 + strlen(filename) + 1;
	if (needed > path_out_size) {
		return false;
	}

	snprintf(path_out, path_out_size, "%s/%s", SD_CARD_MOUNT_POINT, filename);

	if (fs_stat(path_out, &entry) != 0) {
		return false;
	}

	return entry.type == FS_DIR_ENTRY_FILE;
}

int sd_card_list_playable_files(char *out, size_t out_size)
{
	struct fs_dir_t dir;
	int err;
	size_t len = 0;
	int count = 0;

	if (out_size == 0) {
		return -EINVAL;
	}
	out[0] = '\0';

	fs_dir_t_init(&dir);

	err = fs_opendir(&dir, SD_CARD_MOUNT_POINT);
	if (err) {
		return err;
	}

	while (1) {
		struct fs_dirent entry;
		size_t name_len;
		size_t sep_len = count > 0 ? 1 : 0;

		err = fs_readdir(&dir, &entry);
		if (err) {
			break;
		}

		if (entry.name[0] == '\0') {
			break;
		}

		if (entry.type != FS_DIR_ENTRY_FILE || !has_playable_extension(entry.name)) {
			continue;
		}

		name_len = strlen(entry.name);
		if (len + sep_len + name_len + 1 > out_size) {
			/* Out of room; report what fit rather than truncating
			 * a filename mid-way or overflowing the buffer.
			 */
			break;
		}

		if (sep_len) {
			out[len++] = ',';
		}
		memcpy(&out[len], entry.name, name_len);
		len += name_len;
		out[len] = '\0';
		count++;
	}

	fs_closedir(&dir);
	return count;
}

int sd_card_list_root(sd_card_list_root_cb_t cb, void *user_data)
{
	struct fs_dir_t dir;
	int err;

	fs_dir_t_init(&dir);

	err = fs_opendir(&dir, SD_CARD_MOUNT_POINT);
	if (err) {
		return err;
	}

	while (1) {
		struct fs_dirent entry;

		err = fs_readdir(&dir, &entry);
		if (err) {
			break;
		}

		if (entry.name[0] == '\0') {
			err = 0;
			break;
		}

		cb(entry.name, entry.type == FS_DIR_ENTRY_DIR, entry.size, user_data);
	}

	fs_closedir(&dir);
	return err;
}

static void print_ls_entry(const char *name, bool is_dir, uint32_t size, void *user_data)
{
	const struct shell *shell = user_data;

	if (is_dir) {
		shell_print(shell, "%s/", name);
	} else {
		shell_print(shell, "%-32s %u", name, size);
	}
}

static int cmd_ls(const struct shell *shell, size_t argc, char *argv[])
{
	int err;

	err = sd_card_list_root(print_ls_entry, (void *)shell);
	if (err) {
		shell_error(shell, "Failed to list %s: %d", SD_CARD_MOUNT_POINT, err);
	}

	return err;
}

SHELL_CMD_ARG_REGISTER(ls, NULL, "List the SD card's root directory", cmd_ls, 1, 0);
```

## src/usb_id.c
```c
/** @file
 *  @brief Custom USB device identity for the MeshyQ fleet.
 *
 *  The board's default USB backend (subsys/usb/device_next/app/cdc_acm_serial.c,
 *  enabled by CONFIG_CDC_ACM_SERIAL_INITIALIZE_AT_BOOT) reports a
 *  compile-time-fixed manufacturer/product string ("Zephyr Project" /
 *  "CDC ACM serial backend"), so every node in the fleet looks identical on
 *  the host. Kconfig strings can't embed a value read from HWINFO at
 *  runtime, so this file replaces that default backend with an equivalent
 *  single CDC-ACM-instance USB device whose product string folds in part of
 *  this chip's hardware UID (e.g. "MeshyQ A1B2C3D4"), making each node
 *  distinguishable. CONFIG_CDC_ACM_SERIAL_INITIALIZE_AT_BOOT is disabled in
 *  prj.conf so the two don't both try to claim the same UDC device.
 */

#include <stdio.h>
#include <string.h>

#include <zephyr/init.h>
#include <zephyr/device.h>
#include <zephyr/drivers/hwinfo.h>
#include <zephyr/usb/usbd.h>

#include "web_api.h"

#include <zephyr/logging/log.h>
LOG_MODULE_REGISTER(usb_id, CONFIG_USBD_LOG_LEVEL);

#define MESHYQ_USB_VID 0x2FE3
#define MESHYQ_USB_PID 0x0004
#define MESHYQ_USB_MAX_POWER 125 /* 250 mA, in 2 mA units */

#define MESHYQ_PRODUCT_TEMPLATE "MeshyQ XXXXXXXX"

static uint8_t meshyq_product_ascii[sizeof(MESHYQ_PRODUCT_TEMPLATE) - 1];

USBD_DEVICE_DEFINE(meshyq_usbd, DEVICE_DT_GET(DT_NODELABEL(zephyr_udc0)),
		   MESHYQ_USB_VID, MESHYQ_USB_PID);

USBD_DESC_LANG_DEFINE(meshyq_usbd_lang);
USBD_DESC_MANUFACTURER_DEFINE(meshyq_usbd_mfr, "MeshyQ");
IF_ENABLED(CONFIG_HWINFO, (USBD_DESC_SERIAL_NUMBER_DEFINE(meshyq_usbd_sn)));

static struct usbd_desc_node meshyq_usbd_product = {
	.str = {
		.utype = USBD_DUT_STRING_PRODUCT,
		.ascii7 = true,
	},
	.ptr = meshyq_product_ascii,
	.bLength = USB_STRING_DESCRIPTOR_LENGTH(MESHYQ_PRODUCT_TEMPLATE),
	.bDescriptorType = USB_DESC_STRING,
};

USBD_DESC_CONFIG_DEFINE(meshyq_fs_cfg_desc, "FS Configuration");
USBD_CONFIGURATION_DEFINE(meshyq_fs_config, 0, MESHYQ_USB_MAX_POWER, &meshyq_fs_cfg_desc);

static void meshyq_build_product_string(void)
{
	uint8_t uid[4] = {0};
	char text[sizeof(MESHYQ_PRODUCT_TEMPLATE)];

	if (hwinfo_get_device_id(uid, sizeof(uid)) < 0) {
		LOG_WRN("hwinfo_get_device_id failed, USB product string will use a zeroed ID");
	}

	snprintf(text, sizeof(text), "MeshyQ %02X%02X%02X%02X",
		 uid[0], uid[1], uid[2], uid[3]);
	memcpy(meshyq_product_ascii, text, sizeof(meshyq_product_ascii));
}

static int meshyq_usb_init(void)
{
	int err;

	meshyq_build_product_string();

	err = usbd_add_descriptor(&meshyq_usbd, &meshyq_usbd_lang);
	if (err) {
		LOG_ERR("Failed to add language descriptor (%d)", err);
		return err;
	}

	err = usbd_add_descriptor(&meshyq_usbd, &meshyq_usbd_mfr);
	if (err) {
		LOG_ERR("Failed to add manufacturer descriptor (%d)", err);
		return err;
	}

	err = usbd_add_descriptor(&meshyq_usbd, &meshyq_usbd_product);
	if (err) {
		LOG_ERR("Failed to add product descriptor (%d)", err);
		return err;
	}

	if (IS_ENABLED(CONFIG_HWINFO)) {
		err = usbd_add_descriptor(&meshyq_usbd, &meshyq_usbd_sn);
		if (err) {
			LOG_ERR("Failed to add serial number descriptor (%d)", err);
			return err;
		}
	}

	err = usbd_add_configuration(&meshyq_usbd, USBD_SPEED_FS, &meshyq_fs_config);
	if (err) {
		LOG_ERR("Failed to add configuration (%d)", err);
		return err;
	}

	/* Matches the devicetree-registered CDC ACM UART backing zephyr,console. */
	err = usbd_register_class(&meshyq_usbd, "cdc_acm_0", USBD_SPEED_FS, 1);
	if (err) {
		LOG_ERR("Failed to register cdc_acm_0 (%d)", err);
		return err;
	}

	/* Matches web_api_cdc_acm_uart (see boards, *.overlay), the structured
	 * JSON control interface used by the web app (see web_api.c). Not
	 * referenced by any zephyr,* chosen property, so this is purely a
	 * second logical serial port alongside the shell/console above.
	 */
	err = usbd_register_class(&meshyq_usbd, "cdc_acm_1", USBD_SPEED_FS, 1);
	if (err) {
		LOG_ERR("Failed to register cdc_acm_1 (%d)", err);
		return err;
	}

	err = usbd_device_set_code_triple(&meshyq_usbd, USBD_SPEED_FS,
					  USB_BCC_MISCELLANEOUS, 0x02, 0x01);
	if (err) {
		LOG_ERR("Failed to set code triple (%d)", err);
		return err;
	}

	/* Single device-wide message callback slot; web_api.c filters for the
	 * events it cares about (DTR on its own interface) and ignores the
	 * rest.
	 */
	err = usbd_msg_register_cb(&meshyq_usbd, web_api_usbd_msg_handler);
	if (err) {
		LOG_ERR("Failed to register USB message callback (%d)", err);
		return err;
	}

	err = usbd_init(&meshyq_usbd);
	if (err) {
		LOG_ERR("Failed to init USB device support (%d)", err);
		return err;
	}

	err = usbd_enable(&meshyq_usbd);
	if (err) {
		LOG_ERR("Failed to enable USB device support (%d)", err);
		return err;
	}

	return 0;
}

SYS_INIT(meshyq_usb_init, APPLICATION, CONFIG_APPLICATION_INIT_PRIORITY);
```
